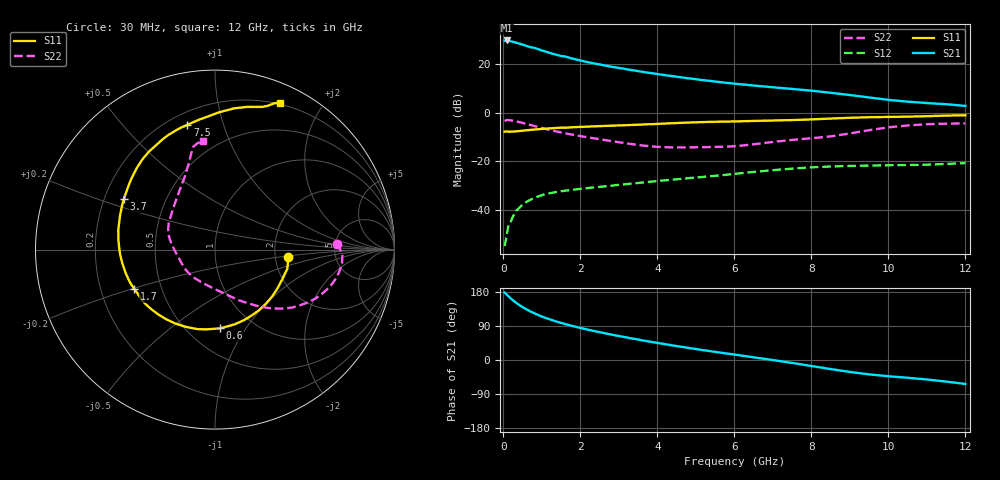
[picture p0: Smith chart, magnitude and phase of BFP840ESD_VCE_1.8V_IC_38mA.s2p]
! Infineon Technologies  Discrete & RF Semiconductors
! BFP840ESD
! VCE =  1.8 V,  IC =  38 mA
! Common Emitter S-Parameters:  May 2012
# GHz  S  MA  R  50
!  f  S11  S21  S12  S22
! GHz  MAG  ANG  MAG  ANG  MAG  ANG  MAG  ANG
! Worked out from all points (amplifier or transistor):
!   93 points, 30 MHz to 12 GHz, reference 50 ohm
!   highest |S21| = 29.8 dB at 80 MHz (marker M1)
!   |S21| within 3 dB of that: start of sweep to 792.9 MHz
!   unconditionally stable (mu >= 1): start of sweep to 272.5 MHz; 2.016 GHz to 11.13 GHz
!   at 1.1 GHz: K = 0.79, MSG = 29.3 dB, |S12| = -33.4 dB
!   at 4.2 GHz: K = 1.29, MAG = 18.4 dB, |S12| = -27.8 dB
!   at 12 GHz: K = 0.84, MSG = 11.8 dB, |S12| = -20.7 dB
!   S11 on the Smith chart (normalised r, x): 30 MHz: 2.36, -0.24; 600 MHz: 0.71, -0.77; 1.7 GHz: 0.35, -0.20; 3.7 GHz: 0.28, +0.24; 7.5 GHz: 0.27, +0.77; 12 GHz: 0.19, +1.52
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0.03  0.4103 -5.8  30.5 178.0  0.0018 93.0  0.6812 2.8
0.08  0.4169 -14.6  31.05 173.0  0.0029 66.2  0.7108 -2.1
0.23  0.4119 -39.7  29.32 159.1  0.0069 66.5  0.6954 -12.7
0.33  0.4174 -54.4  27.93 151.0  0.0096 66.9  0.6706 -18.2
0.43  0.4249 -67.3  26.41 143.8  0.0114 62.2  0.6423 -23.0
0.6  0.4394 -86.2  23.92 133.5  0.0147 58.1  0.5912 -30.1
0.7  0.4464 -95.6  22.54 128.2  0.0163 55.0  0.5636 -33.6
0.8  0.4536 -102.2  21.94 123.4  0.0178 53.5  0.5385 -36.8
1  0.4675 -118.2  19.29 114.7  0.0202 49.5  0.489 -42.3
1.1  0.4735 -124.8  18.23 110.8  0.0214 47.5  0.4661 -44.7
1.4  0.4912 -141.3  15.59 100.7  0.0237 43.6  0.4114 -50.9
1.7  0.5004 -153.9  13.77 92.3  0.0255 41.6  0.3669 -56.2
2.1  0.5182 -169.0  11.5 82.2  0.0277 39.5  0.3228 -62.7
2.9  0.5494 168.7  8.673 65.1  0.0324 38.4  0.2557 -76.4
3.7  0.5814 151.1  6.83 50.2  0.0373 37.1  0.2098 -96.7
4.1  0.5988 143.5  6.141 43.3  0.0403 36.8  0.1981 -109.7
5.1  0.6444 129.1  4.813 27.4  0.0474 33.8  0.1969 -140.4
6.1  0.6698 118.6  3.936 13.0  0.0565 30.6  0.2098 -168.5
7.5  0.7129 102.5  3.116 -7.8  0.0711 20.2  0.2779 159.4
8.5  0.7643 88.5  2.598 -23.9  0.0787 10.7  0.3284 135.1
10.5  0.8379 71.6  1.704 -46.9  0.0845 -5.1  0.5516 103.9
12  0.8941 66.0  1.394 -63.2  0.0924 -13.0  0.6099 96.3
